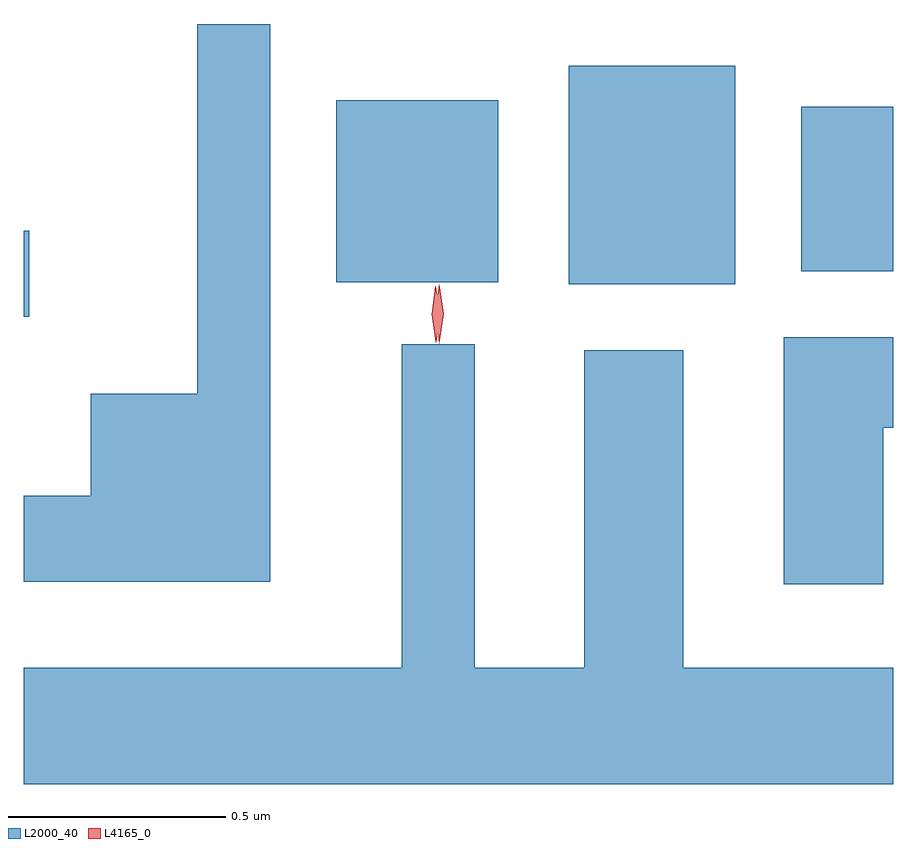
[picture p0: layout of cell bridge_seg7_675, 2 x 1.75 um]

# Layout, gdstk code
import gdstk
lib = gdstk.Library(unit=1e-6, precision=1e-09)
def R(c, l, rs):  # rectangles x0, y0, x1, y1
    for r in rs: c.add(gdstk.rectangle(r[:2], r[2:], *l))
def P(c, l, *ps):  # polygons
    for p in ps: c.add(gdstk.Polygon(p, *l))
L2000_40 = (2000, 40)
L4165_0 = (4165, 0)

bridge_seg7_675 = lib.new_cell('bridge_seg7_675')
R(bridge_seg7_675, L2000_40, [(870.782,1710.951,870.794,1711.149), (872.036,1711.026,872.419,1711.529), (871.501,1711.031,871.874,1711.449), (872.571,1711.056,872.782,1711.434)])
P(bridge_seg7_675, L2000_40, [(871.349,1711.625),(871.181,1711.625),(871.181,1710.774),(870.936,1710.774),(870.936,1710.539),(870.782,1710.539),(870.782,1710.341),(871.349,1710.341)],
  [(872.759,1710.696),(872.782,1710.696),(872.782,1710.904),(872.531,1710.904),(872.531,1710.336),(872.759,1710.336)],
  [(872.782,1710.144),(872.299,1710.144),(872.299,1710.874),(872.071,1710.874),(872.071,1710.144),(871.819,1710.144),(871.819,1710.888),(871.651,1710.888),(871.651,1710.144),(870.782,1710.144),(870.782,1709.876),(872.782,1709.876)])
P(bridge_seg7_675, L4165_0, [(871.738,1710.889),(871.738,1710.89),(871.728,1710.958),(871.738,1711.026),(871.738,1711.026),(871.738,1711.026),(871.748,1710.958),(871.738,1710.89)],
  [(871.73,1710.893),(871.73,1710.893),(871.72,1710.957),(871.729,1711.021),(871.729,1711.022),(871.73,1711.021),(871.74,1710.957),(871.731,1710.893)])

lib.write_gds('bridge_seg7_675.gds')
